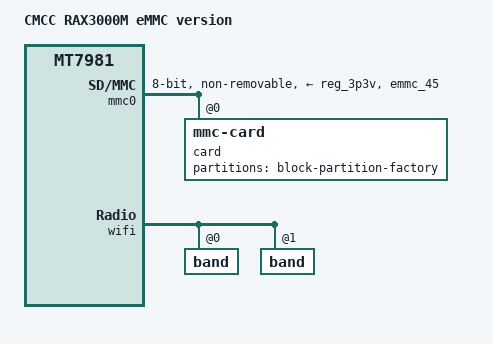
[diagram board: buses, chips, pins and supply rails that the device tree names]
// SPDX-License-Identifier: GPL-2.0-or-later OR MIT

/dts-v1/;
#include "mt7981b-cmcc-rax3000m.dtsi"

/ {
	model = "CMCC RAX3000M eMMC version";
	compatible = "cmcc,rax3000m-emmc", "mediatek,mt7981";

	chosen {
		bootargs = "root=PARTLABEL=rootfs rootwait rootfstype=squashfs,f2fs";
	};
};

&gmac0 {
	nvmem-cells = <&macaddr_factory_2a 0>;
	nvmem-cell-names = "mac-address";
};

&gmac1 {
	nvmem-cells = <&macaddr_factory_24 0>;
	nvmem-cell-names = "mac-address";
};

&mmc0 {
	bus-width = <8>;
	cap-mmc-highspeed;
	max-frequency = <52000000>;
	no-sd;
	no-sdio;
	non-removable;
	pinctrl-names = "default", "state_uhs";
	pinctrl-0 = <&mmc0_pins_default>;
	pinctrl-1 = <&mmc0_pins_uhs>;
	vmmc-supply = <&reg_3p3v>;
	status = "okay";

	card@0 {
		compatible = "mmc-card";
		reg = <0>;

		block {
			compatible = "block-device";

			partitions {
				block-partition-factory {
					partname = "factory";

					nvmem-layout {
						compatible = "fixed-layout";
						#address-cells = <1>;
						#size-cells = <1>;

						eeprom_factory_0: eeprom@0 {
							reg = <0x0 0x1000>;
						};

						macaddr_factory_4: macaddr@4 {
							compatible = "mac-base";
							reg = <0x4 0x6>;
							#nvmem-cell-cells = <1>;
						};

						macaddr_factory_a: macaddr@a {
							compatible = "mac-base";
							reg = <0xa 0x6>;
							#nvmem-cell-cells = <1>;
						};

						macaddr_factory_24: macaddr@24 {
							compatible = "mac-base";
							reg = <0x24 0x6>;
							#nvmem-cell-cells = <1>;
						};

						macaddr_factory_2a: macaddr@2a {
							compatible = "mac-base";
							reg = <0x2a 0x6>;
							#nvmem-cell-cells = <1>;
						};
					};
				};
			};
		};
	};
};

&pio {
	mmc0_pins_default: mmc0-pins {
		mux {
			function = "flash";
			groups = "emmc_45";
		};
	};

	mmc0_pins_uhs: mmc0-uhs-pins {
		mux {
			function = "flash";
			groups = "emmc_45";
		};
	};
};


&wifi {
	nvmem-cells = <&eeprom_factory_0>;
	nvmem-cell-names = "eeprom";
	status = "okay";

	band@0 {
		reg = <0>;
		nvmem-cells = <&macaddr_factory_4 0>;
		nvmem-cell-names = "mac-address";
	};

	band@1 {
		reg = <1>;
		nvmem-cells = <&macaddr_factory_a 0>;
		nvmem-cell-names = "mac-address";
	};
};
